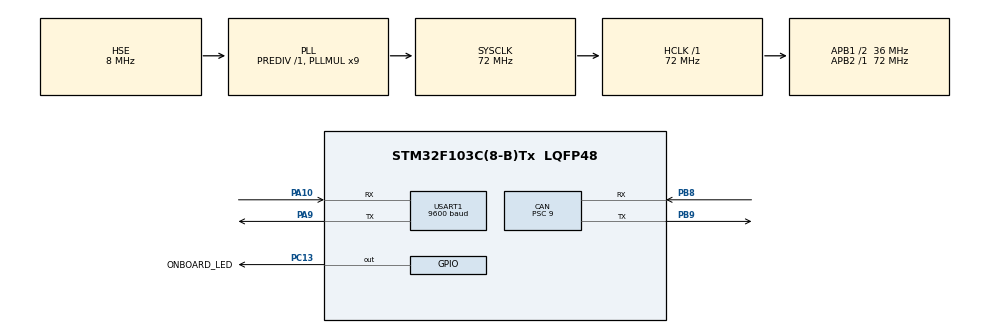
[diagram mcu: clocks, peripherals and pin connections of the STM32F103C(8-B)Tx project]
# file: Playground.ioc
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Mcu.Family=STM32F1
RCC.PLLSourceVirtual=RCC_PLLSOURCE_HSE
PD1-OSC_OUT.Mode=HSE-External-Oscillator
PA10.Mode=Asynchronous
USART1.BaudRate=9600
CAN.CalculateBaudRate=500000
PC13-TAMPER-RTC.Signal=GPIO_Output
PD0-OSC_IN.Signal=RCC_OSC_IN
RCC.APB1CLKDivider=RCC_HCLK_DIV2
VP_SYS_VS_ND.Mode=No_Debug
CAN.CalculateTimeBit=2000.00
RCC.SYSCLKSource=RCC_SYSCLKSOURCE_PLLCLK
ProjectManager.StackSize=0x400
PD1-OSC_OUT.Signal=RCC_OSC_OUT
PA9.Mode=Asynchronous
CAN.BS2=CAN_BS2_4TQ
CAN.Prescaler=9
CAN.BS1=CAN_BS1_3TQ
ProjectManager.TargetToolchain=STM32CubeIDE
RCC.HCLKFreq_Value=72000000
PB9.Mode=CAN_Activate
RCC.APB2TimFreq_Value=72000000
PA9.Signal=USART1_TX
RCC.USBFreq_Value=72000000
CAN.Mode=CAN_MODE_NORMAL
RCC.AHBFreq_Value=72000000
PD0-OSC_IN.Mode=HSE-External-Oscillator
board=custom
PC13-TAMPER-RTC.GPIO_Label=ONBOARD_LED
RCC.PLLMUL=RCC_PLL_MUL9
RCC.APB2Freq_Value=72000000
VP_TIM2_VS_ClockSourceINT.Mode=Internal
NVIC.USB_LP_CAN1_RX0_IRQn=true\:0\:0\:false\:false\:true\:true\:true
NVIC.TIM2_IRQn=true\:0\:0\:false\:false\:true\:true\:true
TIM2.Period=7200
Mcu.Name=STM32F103C(8-B)Tx
CAN.CalculateTimeQuantum=250.0
RCC.SYSCLKFreq_VALUE=72000000
Mcu.Package=LQFP48
PB9.Signal=CAN_TX
TIM2.Prescaler=10000
USART1.VirtualMode=VM_ASYNC
PA10.Signal=USART1_RX
ProjectManager.HeapSize=0x200
NVIC.PriorityGroup=NVIC_PRIORITYGROUP_4
PB8.Mode=CAN_Activate
RCC.APB1TimFreq_Value=72000000
PB8.Signal=CAN_RX
TIM2.AutoReloadPreload=TIM_AUTORELOAD_PRELOAD_ENABLE
RCC.APB1Freq_Value=36000000

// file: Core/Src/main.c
/* USER CODE BEGIN Header */
/**
  ******************************************************************************
  * @file           : main.c
  * @brief          : Main program body
  ******************************************************************************
  * @attention
  *
  * <h2><center>&copy; Copyright (c) 2022 STMicroelectronics.
  * All rights reserved.</center></h2>
  *
  * This software component is licensed by ST under BSD 3-Clause license,
  * the "License"; You may not use this file except in compliance with the
  * License. You may obtain a copy of the License at:
  *                        opensource.org/licenses/BSD-3-Clause
  *
  ******************************************************************************
  */
/* USER CODE END Header */
#include "main.h"

/* USER CODE BEGIN Includes */
#include <stdio.h>
/* USER CODE END Includes */

/* USER CODE BEGIN PD */
#define BOARD1
/* USER CODE END PD */

CAN_HandleTypeDef hcan;

TIM_HandleTypeDef htim2;

UART_HandleTypeDef huart1;

/* USER CODE BEGIN PV */
#ifdef BOARD1
CAN_TxHeaderTypeDef txHeader;  // CAN Bus Receive Header
#endif

CAN_RxHeaderTypeDef rxHeader;  // CAN Bus Transmit Header
CAN_FilterTypeDef canfil;      // CAN Bus Filter
uint32_t canMailbox;           // CAN Bus Mail box variable
char MSG[35] = {'\0'};
uint8_t canRX[8] = {0, 0, 0, 0, 0, 0, 0, 0};  // CAN Bus Receive Buffer
/* USER CODE END PV */

void SystemClock_Config(void);
static void MX_GPIO_Init(void);
static void MX_USART1_UART_Init(void);
static void MX_CAN_Init(void);
static void MX_TIM2_Init(void);
/* USER CODE BEGIN PFP */
void HAL_CAN_RxFifo0MsgPendingCallback(CAN_HandleTypeDef *hcan1);
/* USER CODE END PFP */

int main(void)
{

  /* MCU Configuration--------------------------------------------------------*/

  /* Reset of all peripherals, Initializes the Flash interface and the Systick. */
  HAL_Init();

  /* Configure the system clock */
  SystemClock_Config();

  /* Initialize all configured peripherals */
  MX_GPIO_Init();
  MX_USART1_UART_Init();
  MX_CAN_Init();
  MX_TIM2_Init();
  /* USER CODE BEGIN 2 */

  HAL_TIM_Base_Start_IT(&htim2);

  canfil.FilterBank = 0;
  canfil.FilterMode = CAN_FILTERMODE_IDMASK;
  canfil.FilterFIFOAssignment = CAN_RX_FIFO0;
  canfil.FilterIdHigh = 0;
  canfil.FilterIdLow = 0;
  canfil.FilterMaskIdHigh = 0;
  canfil.FilterMaskIdLow = 0;
  canfil.FilterScale = CAN_FILTERSCALE_32BIT;
  canfil.FilterActivation = ENABLE;
  canfil.SlaveStartFilterBank = 14;

#ifdef BOARD1
  txHeader.DLC = 8;  // Number of bytes to be transmitted max- 8
  txHeader.IDE = CAN_ID_STD;
  txHeader.RTR = CAN_RTR_DATA;
  txHeader.StdId = 0x030;
  txHeader.ExtId = 0x02;
  txHeader.TransmitGlobalTime = DISABLE;
#endif

  HAL_CAN_ConfigFilter(&hcan, &canfil);  // Initialize CAN Filter
  HAL_CAN_Start(&hcan);                  // Initialize CAN Bus
  HAL_CAN_ActivateNotification(
      &hcan, CAN_IT_RX_FIFO0_MSG_PENDING);  // Initialize CAN Bus Rx Interrupt

  /* USER CODE END 2 */

  /* Infinite loop */
  while (1)
  {

    /* USER CODE BEGIN 3 */
    // Flash the LED to show that functionality is working. PC13 is named
    // ONBOARD_LED
    // tutorial: https://microcontrollerslab.com/stm32-blue-pill-gpio-pins-stm32cube-ide-led-blinking-tutorial/
#ifdef BOARD1
    // Tx Buffer
    uint8_t csend[] = {0xff, 0x00, 0x00, 0x00, 0x00, 0x00, 0x00, 0x00};
    // Send Message, we don't check return code for now.
    HAL_CAN_AddTxMessage(&hcan, &txHeader, csend, &canMailbox);
    HAL_Delay(500);
#endif
  }
  /* USER CODE END 3 */
}

void SystemClock_Config(void)
{
  RCC_OscInitTypeDef RCC_OscInitStruct = {0};
  RCC_ClkInitTypeDef RCC_ClkInitStruct = {0};

  /** Initializes the RCC Oscillators according to the specified parameters
  * in the RCC_OscInitTypeDef structure.
  */
  RCC_OscInitStruct.OscillatorType = RCC_OSCILLATORTYPE_HSE;
  RCC_OscInitStruct.HSEState = RCC_HSE_ON;
  RCC_OscInitStruct.HSEPredivValue = RCC_HSE_PREDIV_DIV1;
  RCC_OscInitStruct.HSIState = RCC_HSI_ON;
  RCC_OscInitStruct.PLL.PLLState = RCC_PLL_ON;
  RCC_OscInitStruct.PLL.PLLSource = RCC_PLLSOURCE_HSE;
  RCC_OscInitStruct.PLL.PLLMUL = RCC_PLL_MUL9;
  if (HAL_RCC_OscConfig(&RCC_OscInitStruct) != HAL_OK)
  {
    Error_Handler();
  }
  /** Initializes the CPU, AHB and APB buses clocks
  */
  RCC_ClkInitStruct.ClockType = RCC_CLOCKTYPE_HCLK|RCC_CLOCKTYPE_SYSCLK
                              |RCC_CLOCKTYPE_PCLK1|RCC_CLOCKTYPE_PCLK2;
  RCC_ClkInitStruct.SYSCLKSource = RCC_SYSCLKSOURCE_PLLCLK;
  RCC_ClkInitStruct.AHBCLKDivider = RCC_SYSCLK_DIV1;
  RCC_ClkInitStruct.APB1CLKDivider = RCC_HCLK_DIV2;
  RCC_ClkInitStruct.APB2CLKDivider = RCC_HCLK_DIV1;

  if (HAL_RCC_ClockConfig(&RCC_ClkInitStruct, FLASH_LATENCY_2) != HAL_OK)
  {
    Error_Handler();
  }
}

static void MX_CAN_Init(void)
{

  hcan.Instance = CAN1;
  hcan.Init.Prescaler = 9;
  hcan.Init.Mode = CAN_MODE_NORMAL;
  hcan.Init.SyncJumpWidth = CAN_SJW_1TQ;
  hcan.Init.TimeSeg1 = CAN_BS1_3TQ;
  hcan.Init.TimeSeg2 = CAN_BS2_4TQ;
  hcan.Init.TimeTriggeredMode = DISABLE;
  hcan.Init.AutoBusOff = DISABLE;
  hcan.Init.AutoWakeUp = DISABLE;
  hcan.Init.AutoRetransmission = DISABLE;
  hcan.Init.ReceiveFifoLocked = DISABLE;
  hcan.Init.TransmitFifoPriority = DISABLE;
  if (HAL_CAN_Init(&hcan) != HAL_OK)
  {
    Error_Handler();
  }

}

static void MX_TIM2_Init(void)
{

  TIM_ClockConfigTypeDef sClockSourceConfig = {0};
  TIM_MasterConfigTypeDef sMasterConfig = {0};

  htim2.Instance = TIM2;
  htim2.Init.Prescaler = 10000;
  htim2.Init.CounterMode = TIM_COUNTERMODE_UP;
  htim2.Init.Period = 7200;
  htim2.Init.ClockDivision = TIM_CLOCKDIVISION_DIV1;
  htim2.Init.AutoReloadPreload = TIM_AUTORELOAD_PRELOAD_ENABLE;
  if (HAL_TIM_Base_Init(&htim2) != HAL_OK)
  {
    Error_Handler();
  }
  sClockSourceConfig.ClockSource = TIM_CLOCKSOURCE_INTERNAL;
  if (HAL_TIM_ConfigClockSource(&htim2, &sClockSourceConfig) != HAL_OK)
  {
    Error_Handler();
  }
  sMasterConfig.MasterOutputTrigger = TIM_TRGO_RESET;
  sMasterConfig.MasterSlaveMode = TIM_MASTERSLAVEMODE_DISABLE;
  if (HAL_TIMEx_MasterConfigSynchronization(&htim2, &sMasterConfig) != HAL_OK)
  {
    Error_Handler();
  }

}

static void MX_USART1_UART_Init(void)
{

  huart1.Instance = USART1;
  huart1.Init.BaudRate = 9600;
  huart1.Init.WordLength = UART_WORDLENGTH_8B;
  huart1.Init.StopBits = UART_STOPBITS_1;
  huart1.Init.Parity = UART_PARITY_NONE;
  huart1.Init.Mode = UART_MODE_TX_RX;
  huart1.Init.HwFlowCtl = UART_HWCONTROL_NONE;
  huart1.Init.OverSampling = UART_OVERSAMPLING_16;
  if (HAL_UART_Init(&huart1) != HAL_OK)
  {
    Error_Handler();
  }

}

static void MX_GPIO_Init(void)
{
  GPIO_InitTypeDef GPIO_InitStruct = {0};

  /* GPIO Ports Clock Enable */
  __HAL_RCC_GPIOC_CLK_ENABLE();
  __HAL_RCC_GPIOD_CLK_ENABLE();
  __HAL_RCC_GPIOA_CLK_ENABLE();
  __HAL_RCC_GPIOB_CLK_ENABLE();

  /*Configure GPIO pin Output Level */
  HAL_GPIO_WritePin(ONBOARD_LED_GPIO_Port, ONBOARD_LED_Pin, GPIO_PIN_RESET);

  /*Configure GPIO pin : ONBOARD_LED_Pin */
  GPIO_InitStruct.Pin = ONBOARD_LED_Pin;
  GPIO_InitStruct.Mode = GPIO_MODE_OUTPUT_PP;
  GPIO_InitStruct.Pull = GPIO_NOPULL;
  GPIO_InitStruct.Speed = GPIO_SPEED_FREQ_LOW;
  HAL_GPIO_Init(ONBOARD_LED_GPIO_Port, &GPIO_InitStruct);

}

/* USER CODE BEGIN 4 */
void HAL_CAN_RxFifo0MsgPendingCallback(CAN_HandleTypeDef *hcan1) {
  // Receive CAN bus message to canRX buffer
  HAL_CAN_GetRxMessage(hcan1, CAN_RX_FIFO0, &rxHeader, canRX);

#ifdef BOARD2
  HAL_GPIO_TogglePin(ONBOARD_LED_GPIO_Port, ONBOARD_LED_Pin);

  sprintf(MSG, "Recieved CAN message\r\n");
  HAL_UART_Transmit(&huart1, (uint8_t *)MSG, sizeof(MSG), 100);
#endif
}

void HAL_TIM_PeriodElapsedCallback(TIM_HandleTypeDef *htim) {
#ifdef BOARD1
  HAL_GPIO_TogglePin(ONBOARD_LED_GPIO_Port, ONBOARD_LED_Pin);

  sprintf(MSG, "Hello Dudes! Tracing X \r\n");
  HAL_UART_Transmit(&huart1, (uint8_t *)MSG, sizeof(MSG), 100);
#endif
}
/* USER CODE END 4 */

void Error_Handler(void)
{
  __disable_irq();
  while (1)
  {
  }
}

/************************ (C) COPYRIGHT STMicroelectronics *****END OF FILE****/
